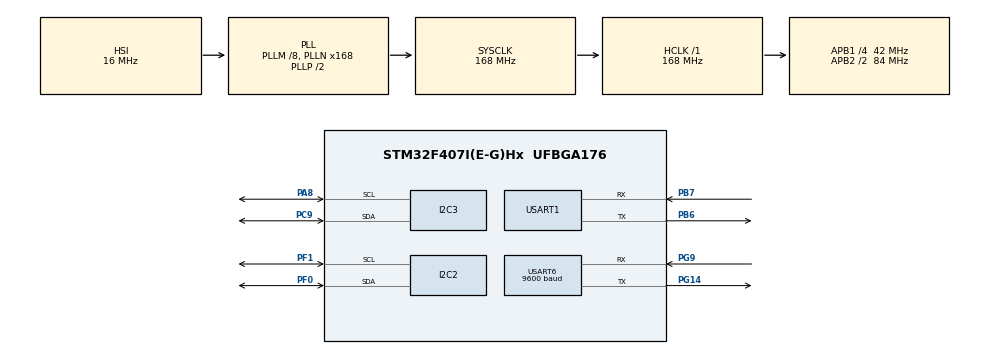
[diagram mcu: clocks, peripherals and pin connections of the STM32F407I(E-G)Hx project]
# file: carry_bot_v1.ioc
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Dma.I2C2_RX.6.Direction=DMA_PERIPH_TO_MEMORY
Dma.I2C2_RX.6.FIFOMode=DMA_FIFOMODE_DISABLE
Dma.I2C2_RX.6.Instance=DMA1_Stream3
Dma.I2C2_RX.6.MemDataAlignment=DMA_MDATAALIGN_BYTE
Dma.I2C2_RX.6.MemInc=DMA_MINC_ENABLE
Dma.I2C2_RX.6.Mode=DMA_NORMAL
Dma.I2C2_RX.6.PeriphDataAlignment=DMA_PDATAALIGN_BYTE
Dma.I2C2_RX.6.PeriphInc=DMA_PINC_DISABLE
Dma.I2C2_RX.6.Priority=DMA_PRIORITY_LOW
Dma.I2C2_TX.7.Direction=DMA_MEMORY_TO_PERIPH
Dma.I2C2_TX.7.FIFOMode=DMA_FIFOMODE_DISABLE
Dma.I2C2_TX.7.Instance=DMA1_Stream7
Dma.I2C2_TX.7.MemDataAlignment=DMA_MDATAALIGN_BYTE
Dma.I2C2_TX.7.MemInc=DMA_MINC_ENABLE
Dma.I2C2_TX.7.Mode=DMA_NORMAL
Dma.I2C2_TX.7.PeriphDataAlignment=DMA_PDATAALIGN_BYTE
Dma.I2C2_TX.7.PeriphInc=DMA_PINC_DISABLE
Dma.I2C2_TX.7.Priority=DMA_PRIORITY_LOW
Dma.I2C3_RX.4.Direction=DMA_PERIPH_TO_MEMORY
Dma.I2C3_RX.4.FIFOMode=DMA_FIFOMODE_DISABLE
Dma.I2C3_RX.4.Instance=DMA1_Stream2
Dma.I2C3_RX.4.MemDataAlignment=DMA_MDATAALIGN_BYTE
Dma.I2C3_RX.4.MemInc=DMA_MINC_ENABLE
Dma.I2C3_RX.4.Mode=DMA_NORMAL
Dma.I2C3_RX.4.PeriphDataAlignment=DMA_PDATAALIGN_BYTE
Dma.I2C3_RX.4.PeriphInc=DMA_PINC_DISABLE
Dma.I2C3_RX.4.Priority=DMA_PRIORITY_LOW
Dma.I2C3_TX.5.Direction=DMA_MEMORY_TO_PERIPH
Dma.I2C3_TX.5.FIFOMode=DMA_FIFOMODE_DISABLE
Dma.I2C3_TX.5.Instance=DMA1_Stream4
Dma.I2C3_TX.5.MemDataAlignment=DMA_MDATAALIGN_BYTE
Dma.I2C3_TX.5.MemInc=DMA_MINC_ENABLE
Dma.I2C3_TX.5.Mode=DMA_NORMAL
Dma.I2C3_TX.5.PeriphDataAlignment=DMA_PDATAALIGN_BYTE
Dma.I2C3_TX.5.PeriphInc=DMA_PINC_DISABLE
Dma.I2C3_TX.5.Priority=DMA_PRIORITY_LOW
Dma.Request0=USART6_RX
Dma.Request1=USART6_TX
Dma.Request2=USART1_RX
Dma.Request3=USART1_TX
Dma.Request4=I2C3_RX
Dma.Request5=I2C3_TX
Dma.Request6=I2C2_RX
Dma.Request7=I2C2_TX
Dma.USART1_RX.2.Direction=DMA_PERIPH_TO_MEMORY
Dma.USART1_RX.2.FIFOMode=DMA_FIFOMODE_DISABLE
Dma.USART1_RX.2.Instance=DMA2_Stream2
Dma.USART1_RX.2.MemDataAlignment=DMA_MDATAALIGN_BYTE
Dma.USART1_RX.2.MemInc=DMA_MINC_ENABLE
Dma.USART1_RX.2.Mode=DMA_NORMAL
Dma.USART1_RX.2.PeriphDataAlignment=DMA_PDATAALIGN_BYTE
Dma.USART1_RX.2.PeriphInc=DMA_PINC_DISABLE
Dma.USART1_RX.2.Priority=DMA_PRIORITY_LOW
Dma.USART1_TX.3.Direction=DMA_MEMORY_TO_PERIPH
Dma.USART1_TX.3.FIFOMode=DMA_FIFOMODE_DISABLE
Dma.USART1_TX.3.Instance=DMA2_Stream7
Dma.USART1_TX.3.MemDataAlignment=DMA_MDATAALIGN_BYTE
Dma.USART1_TX.3.MemInc=DMA_MINC_ENABLE
Dma.USART1_TX.3.Mode=DMA_NORMAL
Dma.USART1_TX.3.PeriphDataAlignment=DMA_PDATAALIGN_BYTE
Dma.USART1_TX.3.PeriphInc=DMA_PINC_DISABLE
Dma.USART1_TX.3.Priority=DMA_PRIORITY_LOW
Dma.USART6_RX.0.Direction=DMA_PERIPH_TO_MEMORY
Dma.USART6_RX.0.FIFOMode=DMA_FIFOMODE_DISABLE
Dma.USART6_RX.0.Instance=DMA2_Stream1
Dma.USART6_RX.0.MemDataAlignment=DMA_MDATAALIGN_BYTE
Dma.USART6_RX.0.MemInc=DMA_MINC_ENABLE
Dma.USART6_RX.0.Mode=DMA_NORMAL
Dma.USART6_RX.0.PeriphDataAlignment=DMA_PDATAALIGN_BYTE
Dma.USART6_RX.0.PeriphInc=DMA_PINC_DISABLE
Dma.USART6_RX.0.Priority=DMA_PRIORITY_LOW
Dma.USART6_TX.1.Direction=DMA_MEMORY_TO_PERIPH
Dma.USART6_TX.1.FIFOMode=DMA_FIFOMODE_DISABLE
Dma.USART6_TX.1.Instance=DMA2_Stream6
Dma.USART6_TX.1.MemDataAlignment=DMA_MDATAALIGN_BYTE
Dma.USART6_TX.1.MemInc=DMA_MINC_ENABLE
Dma.USART6_TX.1.Mode=DMA_NORMAL
Dma.USART6_TX.1.PeriphDataAlignment=DMA_PDATAALIGN_BYTE
Dma.USART6_TX.1.PeriphInc=DMA_PINC_DISABLE
Dma.USART6_TX.1.Priority=DMA_PRIORITY_LOW
FREERTOS.Tasks01=defaultTask,24,128,StartDefaultTask,Default,NULL,Dynamic,NULL,NULL
I2C2.I2C_Mode=I2C_Fast
I2C3.I2C_Mode=I2C_Fast
Mcu.Family=STM32F4
Mcu.Name=STM32F407I(E-G)Hx
Mcu.Package=UFBGA176
NVIC.DMA1_Stream2_IRQn=true\:5\:0\:false\:false\:true\:true\:false\:true\:true
NVIC.DMA1_Stream3_IRQn=true\:5\:0\:false\:false\:true\:true\:false\:true\:true
NVIC.DMA1_Stream4_IRQn=true\:5\:0\:false\:false\:true\:true\:false\:true\:true
NVIC.DMA1_Stream7_IRQn=true\:5\:0\:false\:false\:true\:true\:false\:true\:true
NVIC.DMA2_Stream1_IRQn=true\:5\:0\:false\:false\:true\:true\:false\:true\:true
NVIC.DMA2_Stream2_IRQn=true\:5\:0\:false\:false\:true\:true\:false\:true\:true
NVIC.DMA2_Stream6_IRQn=true\:5\:0\:false\:false\:true\:true\:false\:true\:true
NVIC.DMA2_Stream7_IRQn=true\:5\:0\:false\:false\:true\:true\:false\:true\:true
NVIC.I2C2_EV_IRQn=true\:5\:0\:false\:false\:true\:true\:true\:true\:true
NVIC.I2C3_ER_IRQn=true\:5\:0\:false\:false\:true\:true\:true\:true\:true
NVIC.PriorityGroup=NVIC_PRIORITYGROUP_4
NVIC.TIM7_IRQn=true\:15\:0\:false\:false\:true\:false\:false\:true\:true
NVIC.TimeBase=TIM7_IRQn
NVIC.TimeBaseIP=TIM7
NVIC.USART1_IRQn=true\:5\:0\:false\:false\:true\:true\:false\:true\:true
NVIC.USART6_IRQn=true\:5\:0\:false\:false\:true\:true\:false\:true\:true
PA13.Mode=Serial_Wire
PA13.Signal=SYS_JTMS-SWDIO
PA14.Mode=Serial_Wire
PA14.Signal=SYS_JTCK-SWCLK
PA8.Mode=I2C
PA8.Signal=I2C3_SCL
PB6.Mode=Asynchronous
PB6.Signal=USART1_TX
PB7.Mode=Asynchronous
PB7.Signal=USART1_RX
PC9.Mode=I2C
PC9.Signal=I2C3_SDA
PF0.Mode=I2C
PF0.Signal=I2C2_SDA
PF1.Mode=I2C
PF1.Signal=I2C2_SCL
PG14.Mode=Asynchronous
PG14.Signal=USART6_TX
PG9.Mode=Asynchronous
PG9.Signal=USART6_RX
PH0-OSC_IN.Mode=HSE-External-Oscillator
PH0-OSC_IN.Signal=RCC_OSC_IN
PH1-OSC_OUT.Mode=HSE-External-Oscillator
PH1-OSC_OUT.Signal=RCC_OSC_OUT
ProjectManager.HeapSize=0x200
ProjectManager.StackSize=0x400
ProjectManager.TargetToolchain=CMake
RCC.48MHZClocksFreq_Value=84000000
RCC.AHBFreq_Value=168000000
RCC.APB1CLKDivider=RCC_HCLK_DIV4
RCC.APB1Freq_Value=42000000
RCC.APB1TimFreq_Value=84000000
RCC.APB2CLKDivider=RCC_HCLK_DIV2
RCC.APB2Freq_Value=84000000
RCC.APB2TimFreq_Value=168000000
RCC.CortexFreq_Value=168000000
RCC.HCLKFreq_Value=168000000
RCC.HSE_VALUE=25000000
RCC.HSI_VALUE=16000000
RCC.LSE_VALUE=32768
RCC.PLLM=8
RCC.PLLN=168
RCC.SYSCLKFreq_VALUE=168000000
RCC.SYSCLKSource=RCC_SYSCLKSOURCE_PLLCLK
RCC.VCOOutputFreq_Value=336000000
USART1.VirtualMode=VM_ASYNC
USART6.BaudRate=9600
USART6.VirtualMode=VM_ASYNC
VP_FREERTOS_VS_CMSIS_V2.Mode=CMSIS_V2
VP_SYS_VS_tim7.Mode=TIM7
board=custom

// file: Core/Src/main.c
/* USER CODE BEGIN Header */
/**
  ******************************************************************************
  * @file           : main.c
  * @brief          : Main program body
  ******************************************************************************
  * @attention
  *
  * Copyright (c) 2026 STMicroelectronics.
  * All rights reserved.
  *
  * This software is licensed under terms that can be found in the LICENSE file
  * in the root directory of this software component.
  * If no LICENSE file comes with this software, it is provided AS-IS.
  *
  ******************************************************************************
  */
/* USER CODE END Header */
#include "main.h"
#include "cmsis_os.h"
#include "dma.h"
#include "i2c.h"
#include "usart.h"
#include "gpio.h"

void SystemClock_Config(void);
void MX_FREERTOS_Init(void);

int main(void)
{

  /* MCU Configuration--------------------------------------------------------*/

  /* Reset of all peripherals, Initializes the Flash interface and the Systick. */
  HAL_Init();

  /* Configure the system clock */
  SystemClock_Config();

  /* Initialize all configured peripherals */
  MX_GPIO_Init();
  MX_DMA_Init();
  MX_USART6_UART_Init();
  MX_USART1_UART_Init();
  MX_I2C3_Init();
  MX_I2C2_Init();

  /* Init scheduler */
  osKernelInitialize();  /* Call init function for freertos objects (in cmsis_os2.c) */
  MX_FREERTOS_Init();

  /* Start scheduler */
  osKernelStart();

  /* We should never get here as control is now taken by the scheduler */

  /* Infinite loop */
  while (1)
  {

  }
}

void SystemClock_Config(void)
{
  RCC_OscInitTypeDef RCC_OscInitStruct = {0};
  RCC_ClkInitTypeDef RCC_ClkInitStruct = {0};

  /** Configure the main internal regulator output voltage
  */
  __HAL_RCC_PWR_CLK_ENABLE();
  __HAL_PWR_VOLTAGESCALING_CONFIG(PWR_REGULATOR_VOLTAGE_SCALE1);

  /** Initializes the RCC Oscillators according to the specified parameters
  * in the RCC_OscInitTypeDef structure.
  */
  RCC_OscInitStruct.OscillatorType = RCC_OSCILLATORTYPE_HSI;
  RCC_OscInitStruct.HSIState = RCC_HSI_ON;
  RCC_OscInitStruct.HSICalibrationValue = RCC_HSICALIBRATION_DEFAULT;
  RCC_OscInitStruct.PLL.PLLState = RCC_PLL_ON;
  RCC_OscInitStruct.PLL.PLLSource = RCC_PLLSOURCE_HSI;
  RCC_OscInitStruct.PLL.PLLM = 8;
  RCC_OscInitStruct.PLL.PLLN = 168;
  RCC_OscInitStruct.PLL.PLLP = RCC_PLLP_DIV2;
  RCC_OscInitStruct.PLL.PLLQ = 4;
  if (HAL_RCC_OscConfig(&RCC_OscInitStruct) != HAL_OK)
  {
    Error_Handler();
  }

  /** Initializes the CPU, AHB and APB buses clocks
  */
  RCC_ClkInitStruct.ClockType = RCC_CLOCKTYPE_HCLK|RCC_CLOCKTYPE_SYSCLK
                              |RCC_CLOCKTYPE_PCLK1|RCC_CLOCKTYPE_PCLK2;
  RCC_ClkInitStruct.SYSCLKSource = RCC_SYSCLKSOURCE_PLLCLK;
  RCC_ClkInitStruct.AHBCLKDivider = RCC_SYSCLK_DIV1;
  RCC_ClkInitStruct.APB1CLKDivider = RCC_HCLK_DIV4;
  RCC_ClkInitStruct.APB2CLKDivider = RCC_HCLK_DIV2;

  if (HAL_RCC_ClockConfig(&RCC_ClkInitStruct, FLASH_LATENCY_5) != HAL_OK)
  {
    Error_Handler();
  }
}

void HAL_TIM_PeriodElapsedCallback(TIM_HandleTypeDef *htim)
{
  if (htim->Instance == TIM7)
  {
    HAL_IncTick();
  }
}

void Error_Handler(void)
{
  __disable_irq();
  while (1)
  {
  }
}

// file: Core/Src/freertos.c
/* USER CODE BEGIN Header */
/**
  ******************************************************************************
  * File Name          : freertos.c
  * Description        : Code for freertos applications
  ******************************************************************************
  * @attention
  *
  * Copyright (c) 2026 STMicroelectronics.
  * All rights reserved.
  *
  * This software is licensed under terms that can be found in the LICENSE file
  * in the root directory of this software component.
  * If no LICENSE file comes with this software, it is provided AS-IS.
  *
  ******************************************************************************
  */
/* USER CODE END Header */

#include "FreeRTOS.h"
#include "task.h"
#include "main.h"
#include "cmsis_os.h"

/* USER CODE BEGIN Includes */
#include "link_public.h"
#include "link_config.h"
#include "servo_public.h"
#include "servo_config.h"
/* USER CODE END Includes */

/* USER CODE BEGIN Variables */
/* Definitions for linkTask */
osThreadId_t linkTaskHandle;
const osThreadAttr_t linkTask_attributes = {
  .name = "linkTask",
  .stack_size = LINK_TASK_STACK_SIZE,
  .priority = (osPriority_t) LINK_TASK_PRIORITY,
};
/* Definitions for servoTask */
osThreadId_t servoTaskHandle;
const osThreadAttr_t servoTask_attributes = {
  .name = "servoTask",
  .stack_size = SERVO_TASK_STACK_SIZE,
  .priority = (osPriority_t) SERVO_TASK_PRIORITY,
};
/* USER CODE END Variables */
/* Definitions for defaultTask */
osThreadId_t defaultTaskHandle;
const osThreadAttr_t defaultTask_attributes = {
  .name = "defaultTask",
  .stack_size = 128 * 4,
  .priority = (osPriority_t) osPriorityNormal,
};

void StartDefaultTask(void *argument);

void MX_FREERTOS_Init(void); /* (MISRA C 2004 rule 8.1) */

void MX_FREERTOS_Init(void) {

  /* Create the thread(s) */
  /* creation of defaultTask */
  defaultTaskHandle = osThreadNew(StartDefaultTask, NULL, &defaultTask_attributes);

  /* USER CODE BEGIN RTOS_THREADS */
  linkTaskHandle = osThreadNew(StartLinkTask, NULL, &linkTask_attributes);
  servoTaskHandle = osThreadNew(StartServoTask, NULL, &servoTask_attributes);
  /* USER CODE END RTOS_THREADS */

}

void StartDefaultTask(void *argument)
{
  for(;;)
  {
    osDelay(1);
  }
}
